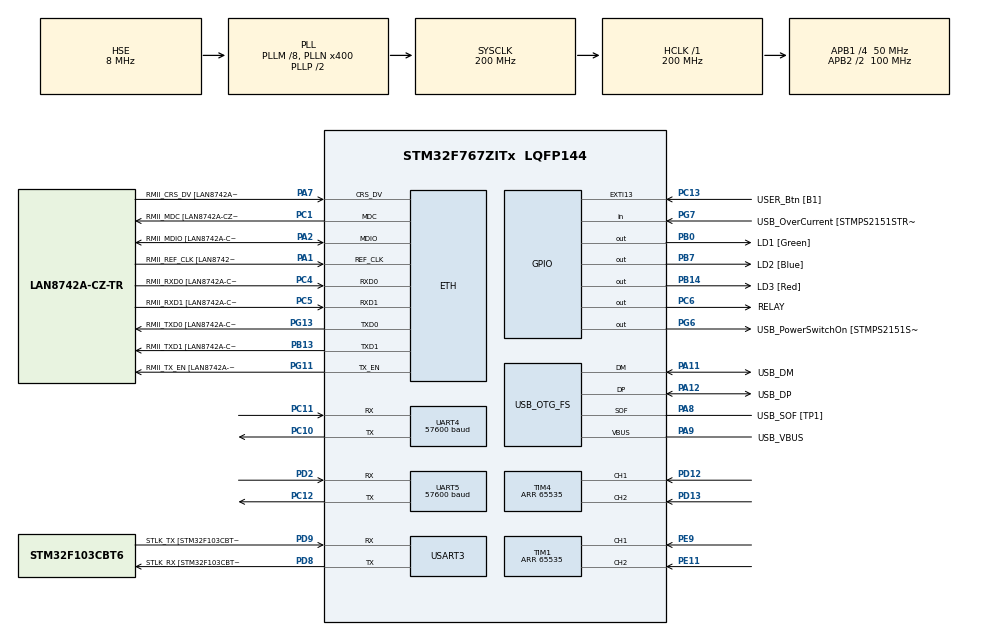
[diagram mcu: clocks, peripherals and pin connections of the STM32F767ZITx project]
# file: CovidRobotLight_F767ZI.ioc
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ETH.AutoNegotiation=ETH_AUTONEGOTIATION_DISABLE
ETH.MediaInterface=ETH_MEDIA_INTERFACE_RMII
ETH.PHY_Name=LAN8742A_PHY_ADDRESS
ETH.PHY_Value=0
ETH.PhyAddress=0
FREERTOS.Tasks01=Main_Task,48,512,MainTask,As weak,NULL,Dynamic,NULL,NULL;Blink_LED,8,256,BlinkLED,As weak,NULL,Dynamic,NULL,NULL;UDP_Communicati,40,1024,UDPcommunication,As weak,NULL,Dynamic,NULL,NULL;Comp_Wheel_Spds,49,1024,CompWheelSpeeds,As weak,NULL,Dynamic,NULL,NULL
FREERTOS.configENABLE_BACKWARD_COMPATIBILITY=0
FREERTOS.configMINIMAL_STACK_SIZE=256
LWIP.GATEWAY_ADDRESS=192.168.000.001
LWIP.IP_ADDRESS=192.168.000.010
LWIP.LWIP_DHCP=0
LWIP.LWIP_TCP=0
LWIP.MEMP_NUM_NETBUF=4
LWIP.MEMP_NUM_NETCONN=8
LWIP.MEMP_NUM_RAW_PCB=16
LWIP.MEMP_NUM_SYS_TIMEOUT=4
LWIP.MEMP_NUM_TCP_PCB=0
LWIP.NETMASK_ADDRESS=255.255.192.000
LWIP.Version=v2.1.2_Cube
Mcu.Family=STM32F7
Mcu.Name=STM32F767ZITx
Mcu.Package=LQFP144
NVIC.ETH_IRQn=true\:5\:0\:false\:false\:true\:true\:false\:true
NVIC.PriorityGroup=NVIC_PRIORITYGROUP_4
NVIC.TIM6_DAC_IRQn=true\:0\:0\:false\:false\:true\:false\:false\:true
NVIC.TimeBase=TIM6_DAC_IRQn
NVIC.TimeBaseIP=TIM6
PA1.GPIO_Label=RMII_REF_CLK [LAN8742A-CZ-TR_REFCLK0]
PA1.Mode=RMII
PA1.Signal=ETH_REF_CLK
PA10.GPIO_Label=USB_ID
PA10.Signal=USB_OTG_FS_ID
PA11.GPIO_Label=USB_DM
PA11.Mode=Device_Only
PA11.Signal=USB_OTG_FS_DM
PA12.GPIO_Label=USB_DP
PA12.Mode=Device_Only
PA12.Signal=USB_OTG_FS_DP
PA13.GPIO_Label=TMS
PA13.Mode=Serial_Wire
PA13.Signal=SYS_JTMS-SWDIO
PA14.GPIO_Label=TCK
PA14.Mode=Serial_Wire
PA14.Signal=SYS_JTCK-SWCLK
PA2.GPIO_Label=RMII_MDIO [LAN8742A-CZ-TR_MDIO]
PA2.Mode=RMII
PA2.Signal=ETH_MDIO
PA7.GPIO_Label=RMII_CRS_DV [LAN8742A-CZ-TR_CRS_DV]
PA7.Mode=RMII
PA7.Signal=ETH_CRS_DV
PA8.GPIO_Label=USB_SOF [TP1]
PA8.Mode=Activate_SOF_FS
PA8.Signal=USB_OTG_FS_SOF
PA9.GPIO_Label=USB_VBUS
PA9.Mode=Activate_VBUS
PA9.Signal=USB_OTG_FS_VBUS
PB0.GPIO_Label=LD1 [Green]
PB0.Signal=GPIO_Output
PB13.GPIO_Label=RMII_TXD1 [LAN8742A-CZ-TR_TXD1]
PB13.Mode=RMII
PB13.Signal=ETH_TXD1
PB14.GPIO_Label=LD3 [Red]
PB14.Signal=GPIO_Output
PB3.GPIO_Label=SWO
PB3.Signal=SYS_JTDO-SWO
PB7.GPIO_Label=LD2 [Blue]
PB7.Signal=GPIO_Output
PC1.GPIO_Label=RMII_MDC [LAN8742A-CZ-TR_MDC]
PC1.Mode=RMII
PC1.Signal=ETH_MDC
PC10.Mode=Asynchronous
PC10.Signal=UART4_TX
PC11.Mode=Asynchronous
PC11.Signal=UART4_RX
PC12.Mode=Asynchronous
PC12.Signal=UART5_TX
PC13.GPIO_Label=USER_Btn [B1]
PC13.Signal=GPXTI13
PC14/OSC32_IN.Mode=LSE-External-Oscillator
PC14/OSC32_IN.Signal=RCC_OSC32_IN
PC15/OSC32_OUT.Mode=LSE-External-Oscillator
PC15/OSC32_OUT.Signal=RCC_OSC32_OUT
PC4.GPIO_Label=RMII_RXD0 [LAN8742A-CZ-TR_RXD0]
PC4.Mode=RMII
PC4.Signal=ETH_RXD0
PC5.GPIO_Label=RMII_RXD1 [LAN8742A-CZ-TR_RXD1]
PC5.Mode=RMII
PC5.Signal=ETH_RXD1
PC6.GPIO_Label=RELAY
PC6.Signal=GPIO_Output
PD12.Signal=S_TIM4_CH1
PD13.Signal=S_TIM4_CH2
PD2.Mode=Asynchronous
PD2.Signal=UART5_RX
PD8.GPIO_Label=STLK_RX [STM32F103CBT6_PA3]
PD8.Mode=Asynchronous
PD8.Signal=USART3_TX
PD9.GPIO_Label=STLK_TX [STM32F103CBT6_PA2]
PD9.Mode=Asynchronous
PD9.Signal=USART3_RX
PE11.Signal=S_TIM1_CH2
PE9.Signal=S_TIM1_CH1
PG11.GPIO_Label=RMII_TX_EN [LAN8742A-CZ-TR_TXEN]
PG11.Mode=RMII
PG11.Signal=ETH_TX_EN
PG13.GPIO_Label=RMII_TXD0 [LAN8742A-CZ-TR_TXD0]
PG13.Mode=RMII
PG13.Signal=ETH_TXD0
PG6.GPIO_Label=USB_PowerSwitchOn [STMPS2151STR_EN]
PG6.Signal=GPIO_Output
PG7.GPIO_Label=USB_OverCurrent [STMPS2151STR_FAULT]
PG7.Signal=GPIO_Input
PH0/OSC_IN.GPIO_Label=MCO [STM32F103CBT6_PA8]
PH0/OSC_IN.Mode=HSE-External-Clock-Source
PH0/OSC_IN.Signal=RCC_OSC_IN
PH1/OSC_OUT.Mode=HSE-External-Clock-Source
PH1/OSC_OUT.Signal=RCC_OSC_OUT
ProjectManager.HeapSize=0x2000
ProjectManager.StackSize=0x4000
ProjectManager.TargetToolchain=SW4STM32
RCC.48MHZClocksFreq_Value=24000000
RCC.AHBFreq_Value=200000000
RCC.APB1CLKDivider=RCC_HCLK_DIV4
RCC.APB1Freq_Value=50000000
RCC.APB1TimFreq_Value=100000000
RCC.APB2CLKDivider=RCC_HCLK_DIV2
RCC.APB2Freq_Value=100000000
RCC.APB2TimFreq_Value=200000000
RCC.CortexFreq_Value=200000000
RCC.HCLKFreq_Value=200000000
RCC.HSE_VALUE=8000000
RCC.HSI_VALUE=16000000
RCC.PLL48CLockSelection=RCC_CLK48SOURCE_PLLSAIP
RCC.PLLM=8
RCC.PLLMUL=RCC_PLL_MUL9
RCC.PLLN=400
RCC.PLLQ=8
RCC.PLLSAIP=RCC_PLLSAIP_DIV4
RCC.PRESCALERUSB=RCC_USBCLKSOURCE_PLL_DIV1_5
RCC.SYSCLKFreq_VALUE=200000000
RCC.SYSCLKSource=RCC_SYSCLKSOURCE_PLLCLK
RCC.SYSCLKSourceVirtual=RCC_SYSCLKSOURCE_PLLCLK
RCC.USBFreq_Value=48000000
RCC.VCOOutputFreq_Value=400000000
SH.S_TIM1_CH1.0=TIM1_CH1,Encoder_Interface
SH.S_TIM1_CH2.0=TIM1_CH2,Encoder_Interface
SH.S_TIM4_CH1.0=TIM4_CH1,Encoder_Interface
SH.S_TIM4_CH2.0=TIM4_CH2,Encoder_Interface
TIM1.EncoderMode=TIM_ENCODERMODE_TI12
TIM1.IC1Filter=5
TIM1.IC2Filter=5
TIM1.Period=65535
TIM4.EncoderMode=TIM_ENCODERMODE_TI12
TIM4.IC1Filter=5
TIM4.IC2Filter=5
TIM4.Period=65535
UART4.BaudRate=57600
UART5.BaudRate=57600
USART3.VirtualMode-Asynchronous=VM_ASYNC
USB_OTG_FS.VirtualMode=Device_Only
VP_FREERTOS_VS_CMSIS_V2.Mode=CMSIS_V2
VP_LWIP_VS_Enabled.Mode=Enabled
VP_SYS_VS_tim6.Mode=TIM6
board=NUCLEO-F767ZI

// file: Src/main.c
/* USER CODE BEGIN Header */
/**
  ******************************************************************************
  * @file           : main.c
  * @brief          : Main program body
  ******************************************************************************
  * @attention
  *
  * <h2><center>&copy; Copyright (c) 2020 STMicroelectronics.
  * All rights reserved.</center></h2>
  *
  * This software component is licensed by ST under Ultimate Liberty license
  * SLA0044, the "License"; You may not use this file except in compliance with
  * the License. You may obtain a copy of the License at:
  *                             www.st.com/SLA0044
  *
  ******************************************************************************
  */
/* USER CODE END Header */

#include "main.h"
#include "cmsis_os.h"
#include "lwip.h"

TIM_HandleTypeDef htim1;
TIM_HandleTypeDef htim4;

UART_HandleTypeDef huart4;
UART_HandleTypeDef huart5;
UART_HandleTypeDef huart3;

PCD_HandleTypeDef hpcd_USB_OTG_FS;

/* Definitions for Main_Task */
osThreadId_t Main_TaskHandle;
const osThreadAttr_t Main_Task_attributes = {
  .name = "Main_Task",
  .priority = (osPriority_t) osPriorityRealtime,
  .stack_size = 512 * 4
};
/* Definitions for Blink_LED */
osThreadId_t Blink_LEDHandle;
const osThreadAttr_t Blink_LED_attributes = {
  .name = "Blink_LED",
  .priority = (osPriority_t) osPriorityLow,
  .stack_size = 256 * 4
};
/* Definitions for UDP_Communicati */
osThreadId_t UDP_CommunicatiHandle;
const osThreadAttr_t UDP_Communicati_attributes = {
  .name = "UDP_Communicati",
  .priority = (osPriority_t) osPriorityHigh,
  .stack_size = 1024 * 4
};
/* Definitions for Comp_Wheel_Spds */
osThreadId_t Comp_Wheel_SpdsHandle;
const osThreadAttr_t Comp_Wheel_Spds_attributes = {
  .name = "Comp_Wheel_Spds",
  .priority = (osPriority_t) osPriorityRealtime1,
  .stack_size = 1024 * 4
};
/* USER CODE BEGIN PV */

uint8_t V_R_hB=0;
uint8_t V_R_lB=0;
uint8_t V_L_hB=0;
uint8_t V_L_lB=0;

uint8_t MotorEnable=0;
uint8_t WriteMotorState=0;
uint8_t LampEnable=0;

long int mywatchdog=500;

UART_HandleTypeDef *SERIALDEBUG = &huart3;
UART_HandleTypeDef *MOTOR_R = &huart4;
UART_HandleTypeDef *MOTOR_L = &huart5;

float speed_R;
float speed_L;

/*
 * Motor R -> UART 4 -> TIM 1
 * Motor L -> UART 5 -> TIM 4
 */

/* USER CODE END PV */

void SystemClock_Config(void);
static void MX_GPIO_Init(void);
static void MX_USART3_UART_Init(void);
static void MX_USB_OTG_FS_PCD_Init(void);
static void MX_TIM1_Init(void);
static void MX_TIM4_Init(void);
static void MX_UART4_Init(void);
static void MX_UART5_Init(void);
void MainTask(void *argument);
void BlinkLED(void *argument);
void UDPcommunication(void *argument);
void CompWheelSpeeds(void *argument);

int main(void)
{

  /* MCU Configuration--------------------------------------------------------*/

  /* Reset of all peripherals, Initializes the Flash interface and the Systick. */
  HAL_Init();

  /* Configure the system clock */
  SystemClock_Config();

  /* Initialize all configured peripherals */
  MX_GPIO_Init();
  MX_USART3_UART_Init();
  MX_USB_OTG_FS_PCD_Init();
  MX_TIM1_Init();
  MX_TIM4_Init();
  MX_UART4_Init();
  MX_UART5_Init();
  /* USER CODE BEGIN 2 */

  HAL_GPIO_WritePin(RELAY_GPIO_Port, RELAY_Pin, 0);
  HAL_TIM_Encoder_Start(&htim1,TIM_CHANNEL_ALL);
  HAL_TIM_Encoder_Start(&htim4,TIM_CHANNEL_ALL);

  uint8_t numofstartupblinks;
  for (numofstartupblinks=0; numofstartupblinks<3; numofstartupblinks++) {
  	  HAL_GPIO_WritePin(LD1_GPIO_Port, LD1_Pin, 1);
  	  HAL_Delay(50);
  	  HAL_GPIO_WritePin(LD1_GPIO_Port, LD1_Pin, 0);
  	  HAL_Delay(50);
  	  HAL_GPIO_WritePin(LD2_GPIO_Port, LD2_Pin, 1);
  	  HAL_Delay(50);
  	  HAL_GPIO_WritePin(LD2_GPIO_Port, LD2_Pin, 0);
  	  HAL_Delay(50);
  	  HAL_GPIO_WritePin(LD3_GPIO_Port, LD3_Pin, 1);
  	  HAL_Delay(50);
  	  HAL_GPIO_WritePin(LD3_GPIO_Port, LD3_Pin, 0);
  	  HAL_Delay(50);
  	  HAL_GPIO_WritePin(LD1_GPIO_Port, LD1_Pin, 1);
  	  HAL_Delay(50);
  	  HAL_GPIO_WritePin(LD1_GPIO_Port, LD1_Pin, 0);
  	  HAL_Delay(50);
  	  HAL_GPIO_WritePin(LD2_GPIO_Port, LD2_Pin, 1);
  	  HAL_Delay(50);
  	  HAL_GPIO_WritePin(LD2_GPIO_Port, LD2_Pin, 0);
  	  HAL_Delay(50);
  	  HAL_GPIO_WritePin(LD3_GPIO_Port, LD3_Pin, 1);
  	  HAL_Delay(50);
  	  HAL_GPIO_WritePin(LD3_GPIO_Port, LD3_Pin, 0);
  	  HAL_Delay(50);

  	  HAL_GPIO_WritePin(LD1_GPIO_Port, LD1_Pin, 1);
  	  HAL_GPIO_WritePin(LD2_GPIO_Port, LD2_Pin, 1);
  	  HAL_GPIO_WritePin(LD3_GPIO_Port, LD3_Pin, 1);
  	  HAL_Delay(100);
  	  HAL_GPIO_WritePin(LD1_GPIO_Port, LD1_Pin, 0);
  	  HAL_GPIO_WritePin(LD2_GPIO_Port, LD2_Pin, 0);
  	  HAL_GPIO_WritePin(LD3_GPIO_Port, LD3_Pin, 0);
  	  HAL_Delay(100);

  	  HAL_GPIO_WritePin(LD1_GPIO_Port, LD1_Pin, 1);
  	  HAL_GPIO_WritePin(LD2_GPIO_Port, LD2_Pin, 1);
  	  HAL_GPIO_WritePin(LD3_GPIO_Port, LD3_Pin, 1);
  	  HAL_Delay(100);
  	  HAL_GPIO_WritePin(LD1_GPIO_Port, LD1_Pin, 0);
  	  HAL_GPIO_WritePin(LD2_GPIO_Port, LD2_Pin, 0);
  	  HAL_GPIO_WritePin(LD3_GPIO_Port, LD3_Pin, 0);
  	  HAL_Delay(100);
  }

  HAL_GPIO_WritePin(LD1_GPIO_Port, LD1_Pin, 0);
  HAL_GPIO_WritePin(LD2_GPIO_Port, LD2_Pin, 0);
  HAL_GPIO_WritePin(LD3_GPIO_Port, LD3_Pin, 0);

  /* USER CODE END 2 */

  /* Init scheduler */
  osKernelInitialize();

  /* Create the thread(s) */
  /* creation of Main_Task */
  Main_TaskHandle = osThreadNew(MainTask, NULL, &Main_Task_attributes);

  /* creation of Blink_LED */
  Blink_LEDHandle = osThreadNew(BlinkLED, NULL, &Blink_LED_attributes);

  /* creation of UDP_Communicati */
  UDP_CommunicatiHandle = osThreadNew(UDPcommunication, NULL, &UDP_Communicati_attributes);

  /* creation of Comp_Wheel_Spds */
  Comp_Wheel_SpdsHandle = osThreadNew(CompWheelSpeeds, NULL, &Comp_Wheel_Spds_attributes);

  /* Start scheduler */
  osKernelStart();

  /* We should never get here as control is now taken by the scheduler */
  /* Infinite loop */
  while (1)
  {

  }
}

void SystemClock_Config(void)
{
  RCC_OscInitTypeDef RCC_OscInitStruct = {0};
  RCC_ClkInitTypeDef RCC_ClkInitStruct = {0};
  RCC_PeriphCLKInitTypeDef PeriphClkInitStruct = {0};

  /** Configure LSE Drive Capability
  */
  HAL_PWR_EnableBkUpAccess();
  /** Configure the main internal regulator output voltage
  */
  __HAL_RCC_PWR_CLK_ENABLE();
  __HAL_PWR_VOLTAGESCALING_CONFIG(PWR_REGULATOR_VOLTAGE_SCALE1);
  /** Initializes the CPU, AHB and APB busses clocks
  */
  RCC_OscInitStruct.OscillatorType = RCC_OSCILLATORTYPE_HSE;
  RCC_OscInitStruct.HSEState = RCC_HSE_BYPASS;
  RCC_OscInitStruct.PLL.PLLState = RCC_PLL_ON;
  RCC_OscInitStruct.PLL.PLLSource = RCC_PLLSOURCE_HSE;
  RCC_OscInitStruct.PLL.PLLM = 8;
  RCC_OscInitStruct.PLL.PLLN = 400;
  RCC_OscInitStruct.PLL.PLLP = RCC_PLLP_DIV2;
  RCC_OscInitStruct.PLL.PLLQ = 8;
  if (HAL_RCC_OscConfig(&RCC_OscInitStruct) != HAL_OK)
  {
    Error_Handler();
  }
  /** Activate the Over-Drive mode
  */
  if (HAL_PWREx_EnableOverDrive() != HAL_OK)
  {
    Error_Handler();
  }
  /** Initializes the CPU, AHB and APB busses clocks
  */
  RCC_ClkInitStruct.ClockType = RCC_CLOCKTYPE_HCLK|RCC_CLOCKTYPE_SYSCLK
                              |RCC_CLOCKTYPE_PCLK1|RCC_CLOCKTYPE_PCLK2;
  RCC_ClkInitStruct.SYSCLKSource = RCC_SYSCLKSOURCE_PLLCLK;
  RCC_ClkInitStruct.AHBCLKDivider = RCC_SYSCLK_DIV1;
  RCC_ClkInitStruct.APB1CLKDivider = RCC_HCLK_DIV4;
  RCC_ClkInitStruct.APB2CLKDivider = RCC_HCLK_DIV2;

  if (HAL_RCC_ClockConfig(&RCC_ClkInitStruct, FLASH_LATENCY_6) != HAL_OK)
  {
    Error_Handler();
  }
  PeriphClkInitStruct.PeriphClockSelection = RCC_PERIPHCLK_USART3|RCC_PERIPHCLK_UART4
                              |RCC_PERIPHCLK_UART5|RCC_PERIPHCLK_CLK48;
  PeriphClkInitStruct.PLLSAI.PLLSAIN = 192;
  PeriphClkInitStruct.PLLSAI.PLLSAIR = 2;
  PeriphClkInitStruct.PLLSAI.PLLSAIQ = 2;
  PeriphClkInitStruct.PLLSAI.PLLSAIP = RCC_PLLSAIP_DIV4;
  PeriphClkInitStruct.PLLSAIDivQ = 1;
  PeriphClkInitStruct.PLLSAIDivR = RCC_PLLSAIDIVR_2;
  PeriphClkInitStruct.Usart3ClockSelection = RCC_USART3CLKSOURCE_PCLK1;
  PeriphClkInitStruct.Uart4ClockSelection = RCC_UART4CLKSOURCE_PCLK1;
  PeriphClkInitStruct.Uart5ClockSelection = RCC_UART5CLKSOURCE_PCLK1;
  PeriphClkInitStruct.Clk48ClockSelection = RCC_CLK48SOURCE_PLLSAIP;
  if (HAL_RCCEx_PeriphCLKConfig(&PeriphClkInitStruct) != HAL_OK)
  {
    Error_Handler();
  }
}

static void MX_TIM1_Init(void)
{

  TIM_Encoder_InitTypeDef sConfig = {0};
  TIM_MasterConfigTypeDef sMasterConfig = {0};

  htim1.Instance = TIM1;
  htim1.Init.Prescaler = 0;
  htim1.Init.CounterMode = TIM_COUNTERMODE_UP;
  htim1.Init.Period = 65535;
  htim1.Init.ClockDivision = TIM_CLOCKDIVISION_DIV1;
  htim1.Init.RepetitionCounter = 0;
  htim1.Init.AutoReloadPreload = TIM_AUTORELOAD_PRELOAD_DISABLE;
  sConfig.EncoderMode = TIM_ENCODERMODE_TI12;
  sConfig.IC1Polarity = TIM_ICPOLARITY_RISING;
  sConfig.IC1Selection = TIM_ICSELECTION_DIRECTTI;
  sConfig.IC1Prescaler = TIM_ICPSC_DIV1;
  sConfig.IC1Filter = 5;
  sConfig.IC2Polarity = TIM_ICPOLARITY_RISING;
  sConfig.IC2Selection = TIM_ICSELECTION_DIRECTTI;
  sConfig.IC2Prescaler = TIM_ICPSC_DIV1;
  sConfig.IC2Filter = 5;
  if (HAL_TIM_Encoder_Init(&htim1, &sConfig) != HAL_OK)
  {
    Error_Handler();
  }
  sMasterConfig.MasterOutputTrigger = TIM_TRGO_RESET;
  sMasterConfig.MasterOutputTrigger2 = TIM_TRGO2_RESET;
  sMasterConfig.MasterSlaveMode = TIM_MASTERSLAVEMODE_DISABLE;
  if (HAL_TIMEx_MasterConfigSynchronization(&htim1, &sMasterConfig) != HAL_OK)
  {
    Error_Handler();
  }

}

static void MX_TIM4_Init(void)
{

  TIM_Encoder_InitTypeDef sConfig = {0};
  TIM_MasterConfigTypeDef sMasterConfig = {0};

  htim4.Instance = TIM4;
  htim4.Init.Prescaler = 0;
  htim4.Init.CounterMode = TIM_COUNTERMODE_UP;
  htim4.Init.Period = 65535;
  htim4.Init.ClockDivision = TIM_CLOCKDIVISION_DIV1;
  htim4.Init.AutoReloadPreload = TIM_AUTORELOAD_PRELOAD_DISABLE;
  sConfig.EncoderMode = TIM_ENCODERMODE_TI12;
  sConfig.IC1Polarity = TIM_ICPOLARITY_RISING;
  sConfig.IC1Selection = TIM_ICSELECTION_DIRECTTI;
  sConfig.IC1Prescaler = TIM_ICPSC_DIV1;
  sConfig.IC1Filter = 5;
  sConfig.IC2Polarity = TIM_ICPOLARITY_RISING;
  sConfig.IC2Selection = TIM_ICSELECTION_DIRECTTI;
  sConfig.IC2Prescaler = TIM_ICPSC_DIV1;
  sConfig.IC2Filter = 5;
  if (HAL_TIM_Encoder_Init(&htim4, &sConfig) != HAL_OK)
  {
    Error_Handler();
  }
  sMasterConfig.MasterOutputTrigger = TIM_TRGO_RESET;
  sMasterConfig.MasterSlaveMode = TIM_MASTERSLAVEMODE_DISABLE;
  if (HAL_TIMEx_MasterConfigSynchronization(&htim4, &sMasterConfig) != HAL_OK)
  {
    Error_Handler();
  }

}

static void MX_UART4_Init(void)
{

  huart4.Instance = UART4;
  huart4.Init.BaudRate = 57600;
  huart4.Init.WordLength = UART_WORDLENGTH_8B;
  huart4.Init.StopBits = UART_STOPBITS_1;
  huart4.Init.Parity = UART_PARITY_NONE;
  huart4.Init.Mode = UART_MODE_TX_RX;
  huart4.Init.HwFlowCtl = UART_HWCONTROL_NONE;
  huart4.Init.OverSampling = UART_OVERSAMPLING_16;
  huart4.Init.OneBitSampling = UART_ONE_BIT_SAMPLE_DISABLE;
  huart4.AdvancedInit.AdvFeatureInit = UART_ADVFEATURE_NO_INIT;
  if (HAL_UART_Init(&huart4) != HAL_OK)
  {
    Error_Handler();
  }

}

static void MX_UART5_Init(void)
{

  huart5.Instance = UART5;
  huart5.Init.BaudRate = 57600;
  huart5.Init.WordLength = UART_WORDLENGTH_8B;
  huart5.Init.StopBits = UART_STOPBITS_1;
  huart5.Init.Parity = UART_PARITY_NONE;
  huart5.Init.Mode = UART_MODE_TX_RX;
  huart5.Init.HwFlowCtl = UART_HWCONTROL_NONE;
  huart5.Init.OverSampling = UART_OVERSAMPLING_16;
  huart5.Init.OneBitSampling = UART_ONE_BIT_SAMPLE_DISABLE;
  huart5.AdvancedInit.AdvFeatureInit = UART_ADVFEATURE_NO_INIT;
  if (HAL_UART_Init(&huart5) != HAL_OK)
  {
    Error_Handler();
  }

}

static void MX_USART3_UART_Init(void)
{

  huart3.Instance = USART3;
  huart3.Init.BaudRate = 115200;
  huart3.Init.WordLength = UART_WORDLENGTH_8B;
  huart3.Init.StopBits = UART_STOPBITS_1;
  huart3.Init.Parity = UART_PARITY_NONE;
  huart3.Init.Mode = UART_MODE_TX_RX;
  huart3.Init.HwFlowCtl = UART_HWCONTROL_NONE;
  huart3.Init.OverSampling = UART_OVERSAMPLING_16;
  huart3.Init.OneBitSampling = UART_ONE_BIT_SAMPLE_DISABLE;
  huart3.AdvancedInit.AdvFeatureInit = UART_ADVFEATURE_NO_INIT;
  if (HAL_UART_Init(&huart3) != HAL_OK)
  {
    Error_Handler();
  }

}

static void MX_USB_OTG_FS_PCD_Init(void)
{

  hpcd_USB_OTG_FS.Instance = USB_OTG_FS;
  hpcd_USB_OTG_FS.Init.dev_endpoints = 6;
  hpcd_USB_OTG_FS.Init.speed = PCD_SPEED_FULL;
  hpcd_USB_OTG_FS.Init.dma_enable = DISABLE;
  hpcd_USB_OTG_FS.Init.phy_itface = PCD_PHY_EMBEDDED;
  hpcd_USB_OTG_FS.Init.Sof_enable = ENABLE;
  hpcd_USB_OTG_FS.Init.low_power_enable = DISABLE;
  hpcd_USB_OTG_FS.Init.lpm_enable = DISABLE;
  hpcd_USB_OTG_FS.Init.vbus_sensing_enable = ENABLE;
  hpcd_USB_OTG_FS.Init.use_dedicated_ep1 = DISABLE;
  if (HAL_PCD_Init(&hpcd_USB_OTG_FS) != HAL_OK)
  {
    Error_Handler();
  }

}

static void MX_GPIO_Init(void)
{
  GPIO_InitTypeDef GPIO_InitStruct = {0};

  /* GPIO Ports Clock Enable */
  __HAL_RCC_GPIOC_CLK_ENABLE();
  __HAL_RCC_GPIOH_CLK_ENABLE();
  __HAL_RCC_GPIOA_CLK_ENABLE();
  __HAL_RCC_GPIOB_CLK_ENABLE();
  __HAL_RCC_GPIOE_CLK_ENABLE();
  __HAL_RCC_GPIOD_CLK_ENABLE();
  __HAL_RCC_GPIOG_CLK_ENABLE();

  /*Configure GPIO pin Output Level */
  HAL_GPIO_WritePin(GPIOB, LD1_Pin|LD3_Pin|LD2_Pin, GPIO_PIN_RESET);

  /*Configure GPIO pin Output Level */
  HAL_GPIO_WritePin(USB_PowerSwitchOn_GPIO_Port, USB_PowerSwitchOn_Pin, GPIO_PIN_RESET);

  /*Configure GPIO pin Output Level */
  HAL_GPIO_WritePin(RELAY_GPIO_Port, RELAY_Pin, GPIO_PIN_RESET);

  /*Configure GPIO pin : USER_Btn_Pin */
  GPIO_InitStruct.Pin = USER_Btn_Pin;
  GPIO_InitStruct.Mode = GPIO_MODE_IT_RISING;
  GPIO_InitStruct.Pull = GPIO_NOPULL;
  HAL_GPIO_Init(USER_Btn_GPIO_Port, &GPIO_InitStruct);

  /*Configure GPIO pins : LD1_Pin LD3_Pin LD2_Pin */
  GPIO_InitStruct.Pin = LD1_Pin|LD3_Pin|LD2_Pin;
  GPIO_InitStruct.Mode = GPIO_MODE_OUTPUT_PP;
  GPIO_InitStruct.Pull = GPIO_NOPULL;
  GPIO_InitStruct.Speed = GPIO_SPEED_FREQ_LOW;
  HAL_GPIO_Init(GPIOB, &GPIO_InitStruct);

  /*Configure GPIO pin : USB_PowerSwitchOn_Pin */
  GPIO_InitStruct.Pin = USB_PowerSwitchOn_Pin;
  GPIO_InitStruct.Mode = GPIO_MODE_OUTPUT_PP;
  GPIO_InitStruct.Pull = GPIO_NOPULL;
  GPIO_InitStruct.Speed = GPIO_SPEED_FREQ_LOW;
  HAL_GPIO_Init(USB_PowerSwitchOn_GPIO_Port, &GPIO_InitStruct);

  /*Configure GPIO pin : USB_OverCurrent_Pin */
  GPIO_InitStruct.Pin = USB_OverCurrent_Pin;
  GPIO_InitStruct.Mode = GPIO_MODE_INPUT;
  GPIO_InitStruct.Pull = GPIO_NOPULL;
  HAL_GPIO_Init(USB_OverCurrent_GPIO_Port, &GPIO_InitStruct);

  /*Configure GPIO pin : RELAY_Pin */
  GPIO_InitStruct.Pin = RELAY_Pin;
  GPIO_InitStruct.Mode = GPIO_MODE_OUTPUT_PP;
  GPIO_InitStruct.Pull = GPIO_NOPULL;
  GPIO_InitStruct.Speed = GPIO_SPEED_FREQ_LOW;
  HAL_GPIO_Init(RELAY_GPIO_Port, &GPIO_InitStruct);

}

/* USER CODE BEGIN 4 */

void recv_fun(void *arg, struct udp_pcb *pcb, struct pbuf *datarecv, const ip_addr_t *addr, uint16_t port){
	mywatchdog=500;
	V_R_lB=pbuf_get_at(datarecv,0);
	V_R_hB=pbuf_get_at(datarecv,1);
	V_L_lB=pbuf_get_at(datarecv,2);
	V_L_hB=pbuf_get_at(datarecv,3);
	LampEnable=(pbuf_get_at(datarecv,4)&0x08)>>3;
	MotorEnable=(pbuf_get_at(datarecv,4)&0x02)>>1;
	WriteMotorState=(pbuf_get_at(datarecv,4)&0x01);
	pbuf_free(datarecv);
}

char checksumbyte(char addressbyte, char highvaluebyte, char lowvaluebyte){
	return addressbyte+highvaluebyte+lowvaluebyte;
}

void start_motor(UART_HandleTypeDef *huart){
	/*SENDING MESSAGE*/
	uint8_t address=0x00;
	uint8_t message[4]={address,0x00,0x01,0x01};
	HAL_UART_Transmit(huart,message,4,3);
}

void stop_motor(UART_HandleTypeDef *huart){
	/*SENDING MESSAGE*/
	uint8_t address=0x00;
	uint8_t message[4]={address,0x00,0x00,0x00};
	HAL_UART_Transmit(huart,message,4,3);
}

void motor_setPCspeedcontrolmode(UART_HandleTypeDef *huart){
	/*SENDING MESSAGE*/
	uint8_t address=0x02;
	uint8_t message[4]={address,0x00,0xc4,0xc6};
	HAL_UART_Transmit(huart,message,4,3);
}

void set_accelerationdeceleration(UART_HandleTypeDef *huart, char accel, char decel){
	/*SENDING MESSAGE*/
	uint8_t address=0x0a;
	uint8_t message[4]={address,accel,decel,checksumbyte(address,accel,decel)};
	HAL_UART_Transmit(huart,message,4,3);
}

void set_motorspeed(UART_HandleTypeDef *huart, char highvaluebyte, char lowvaluebyte){
	/*SENDING MESSAGE*/
	uint8_t address=0x06;
	uint8_t message[4]={address,highvaluebyte,lowvaluebyte,checksumbyte(address,highvaluebyte,lowvaluebyte)};
	HAL_UART_Transmit(huart,message,4,3);
}

void set_speedlimitvalue(UART_HandleTypeDef *huart, char highvaluebyte, char lowvaluebyte){
	/*SENDING MESSAGE*/
	uint8_t address=0x1d;
	uint8_t message[4]={address,highvaluebyte,lowvaluebyte,checksumbyte(address,highvaluebyte,lowvaluebyte)};
	HAL_UART_Transmit(huart,message,4,3);
}

void cleardriverfault(UART_HandleTypeDef *huart){
	/*SENDING MESSAGE*/
	uint8_t address=0x4a;
	uint8_t message[4]={address,0x00,0x00,address};
	HAL_UART_Transmit(huart,message,4,3);
}

void debugwithserial(UART_HandleTypeDef *huart){
	  uint8_t buffer[128];
	  short int dig_command_R=(short int)((V_R_hB<<8)|V_R_lB);
	  short int dig_command_L=(short int)((V_L_hB<<8)|V_L_lB);
	  int len=sprintf((char*)(buffer),"debug:\t%hi\t%hi\t%i\t%lu\t%lu\n",dig_command_R,dig_command_L,MotorEnable,htim1.Instance->CNT,htim4.Instance->CNT);
	  HAL_UART_Transmit(huart,buffer,len,2*len);
}

/* USER CODE END 4 */

__weak void MainTask(void *argument)
{
  /* init code for LWIP */
  MX_LWIP_Init();
  /* USER CODE BEGIN 5 */

  stop_motor(MOTOR_R);
  stop_motor(MOTOR_L);

  uint8_t RelayPinValue;
  uint32_t mytick;
  mytick = osKernelGetTickCount();

  /* Infinite loop */
  for(;;)
  {
	  if (mywatchdog<0){
		  HAL_GPIO_WritePin(RELAY_GPIO_Port,RELAY_Pin,0);
		  stop_motor(MOTOR_R);
		  stop_motor(MOTOR_L);
		  osDelay(2);
		  set_motorspeed(MOTOR_R,0,0);
		  set_motorspeed(MOTOR_L,0,0);
		  MotorEnable=0;
		  LampEnable=0;

	  }
	  else{
		  if (MotorEnable){
			  if (WriteMotorState){
				  start_motor(MOTOR_R);
				  start_motor(MOTOR_L);
				  osDelay(2);
			  }
			  set_motorspeed(MOTOR_R,V_R_hB,V_R_lB);
			  set_motorspeed(MOTOR_L,V_L_hB,V_L_lB);
		  }
		  else{
			  stop_motor(MOTOR_R);
			  stop_motor(MOTOR_L);
		  }
		  RelayPinValue=LampEnable;
		  HAL_GPIO_WritePin(RELAY_GPIO_Port,RELAY_Pin,RelayPinValue);
	  }
	  /*debugwithserial(SERIALDEBUG);*/
      mytick += 25U;
      osDelayUntil(mytick);
  }
  /* USER CODE END 5 */
}

/* USER CODE BEGIN Header_BlinkLED */
/**6
* @brief Function implementing the Blink_LED thread.
* @param argument: Not used
* @retval None
*/
/* USER CODE END Header_BlinkLED */
__weak void BlinkLED(void *argument)
{
  /* USER CODE BEGIN BlinkLED */
	uint32_t mytick3;
	mytick3 = osKernelGetTickCount();

  /* Infinite loop */
  for(;;)
  {
	  mytick3+=500U;
	  HAL_GPIO_WritePin(LD1_GPIO_Port,LD1_Pin,1);
	  HAL_GPIO_WritePin(LD2_GPIO_Port,LD2_Pin,1);
	  HAL_GPIO_WritePin(LD3_GPIO_Port,LD3_Pin,1);
	  osDelayUntil(mytick3);
	  mytick3+=500U;
	  HAL_GPIO_WritePin(LD1_GPIO_Port,LD1_Pin,0);
	  HAL_GPIO_WritePin(LD2_GPIO_Port,LD2_Pin,0);
	  HAL_GPIO_WritePin(LD3_GPIO_Port,LD3_Pin,0);
	  osDelayUntil(mytick3);
  }
  /* USER CODE END BlinkLED */
}

__weak void UDPcommunication(void *argument)
{
  /* USER CODE BEGIN UDPcommunication */
	  /* REMOTE ADDRESS DEFINITION */
	  struct ip4_addr computer_address;
	  IP4_ADDR(&computer_address,192,168,0,100);

	  /* UDP INITIALIZATION */
	  struct udp_pcb *hudp;
	  hudp=udp_new();
	  udp_bind(hudp,IP4_ADDR_ANY,9999);
	  udp_recv(hudp,recv_fun,NULL);

	  /* INITIALIZE TIME VARIABLE mytickN (TICK UNITS ms) */
	  uint32_t mytick2;
	  mytick2 = osKernelGetTickCount();
  /* Infinite loop */
  for(;;)
  {
	  struct pbuf *datasend;
	  datasend = pbuf_alloc(PBUF_TRANSPORT,10,PBUF_RAM);
	  char dati[10];

	  memcpy(&dati[0],(uint8_t*)&speed_R,4);
	  memcpy(&dati[4],(uint8_t*)&speed_L,4);
	  dati[8]=MotorEnable;
	  dati[9]=LampEnable;

	  memcpy(datasend->payload,dati,10);
	  udp_sendto(hudp,datasend,&computer_address,11111);
      pbuf_free(datasend);
      mywatchdog-=10;
      mytick2 += 10U;
      osDelayUntil(mytick2);
  }
  /* USER CODE END UDPcommunication */
}

__weak void CompWheelSpeeds(void *argument)
{
  /* USER CODE BEGIN CompWheelSpeeds */

	/* INITIALIZE TIME VARIABLE mytickN (TICK UNITS ms) */
	uint32_t mytick4;

	/* DEFINE CUSTOM ENCODER STRUCTURE */
	struct my_encoder {
		int32_t Old_Angle;
		int32_t New_Angle;
		int32_t Old_Count;
		int32_t New_Count;
		int32_t Rep_Counter;
	};

	/* INITIALIZE ENCODER STRUCTURES */
	struct my_encoder enc_R = {0, 0, 0, 0, 0};
	struct my_encoder enc_L = {0, 0, 0, 0, 0};

	/* INITIALIZE AUXILIARY VARIABLES */
	float speed_R_old=0;
	float speed_L_old=0;

	/* FILTER PARAMETERS DEFINITION */
	float Ts=0.01;
	float Tf=0.05;
	float a = Ts/(Ts+Tf);
	float b = Tf/(Ts+Tf);

	/* GET ACTUAL TIME */
	mytick4 = osKernelGetTickCount();

  /* Infinite loop */
  for(;;)
  {
	/* STORE ENCODER READING INTO VARIABLE */
    enc_R.New_Count=(int32_t)(htim1.Instance->CNT);
    enc_L.New_Count=(int32_t)(htim4.Instance->CNT);

    /* REPETITION COUNTER */
    if ((enc_R.New_Count-enc_R.Old_Count)<(-32768)) {
    	(enc_R.Rep_Counter)++;
    }
    if ((enc_R.New_Count-enc_R.Old_Count)>(32768)) {
    	(enc_R.Rep_Counter)--;
    }
    if ((enc_L.New_Count-enc_L.Old_Count)<(-32768)) {
    	(enc_L.Rep_Counter)++;
    }
    if ((enc_L.New_Count-enc_L.Old_Count)>(32768)) {
        (enc_L.Rep_Counter)--;
    }

    /* CALCULATE NEW WHEEL COUNTS */
    enc_R.New_Angle = enc_R.Rep_Counter*65536 + enc_R.New_Count;
    enc_L.New_Angle = enc_L.Rep_Counter*65536 + enc_L.New_Count;

    /* CALCULATE FILTERED SPEEDS */
    speed_R = a*speed_R_old + b*((float)(enc_R.New_Angle-enc_R.Old_Angle))/Ts;
    speed_L = a*speed_L_old + b*((float)(enc_L.New_Angle-enc_L.Old_Angle))/Ts;

    /* UPDATE OLD VARIABLES */
    enc_R.Old_Angle=enc_R.New_Angle;
    enc_R.Old_Count=enc_R.New_Count;
    enc_L.Old_Angle=enc_L.New_Angle;
    enc_L.Old_Count=enc_L.New_Count;
    speed_R_old=speed_R;
    speed_L_old=speed_L;

	/*REALTIME*/
    mytick4 += 10U;
    osDelayUntil(mytick4);
  }
  /* USER CODE END CompWheelSpeeds */
}

 /**
  * @brief  Period elapsed callback in non blocking mode
  * @note   This function is called  when TIM6 interrupt took place, inside
  * HAL_TIM_IRQHandler(). It makes a direct call to HAL_IncTick() to increment
  * a global variable "uwTick" used as application time base.
  * @param  htim : TIM handle
  * @retval None
  */
void HAL_TIM_PeriodElapsedCallback(TIM_HandleTypeDef *htim)
{
  if (htim->Instance == TIM6) {
    HAL_IncTick();
  }
}

void Error_Handler(void)
{
}

/************************ (C) COPYRIGHT STMicroelectronics *****END OF FILE****/
